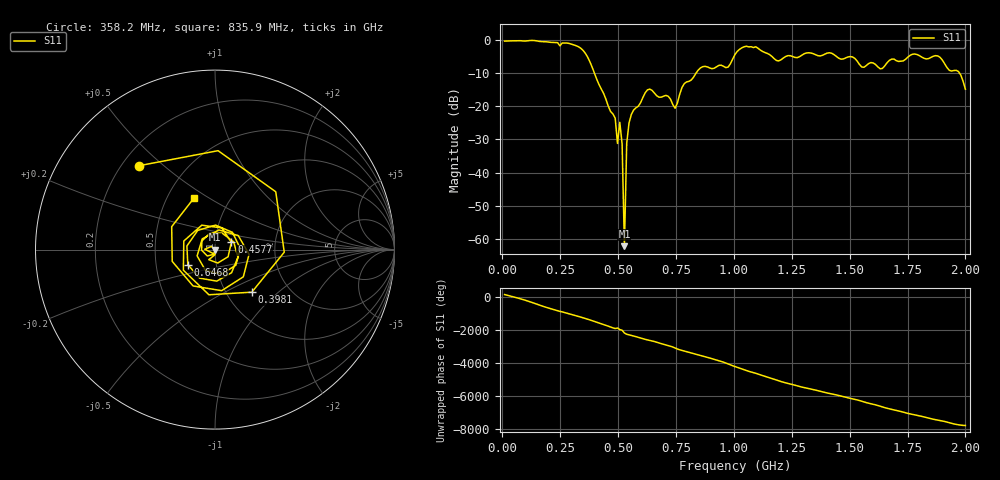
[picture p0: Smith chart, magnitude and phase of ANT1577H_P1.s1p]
!Created with skrf (http://scikit-rf.org).
# Hz S RI R 50.0
!freq ReS11 ImS11
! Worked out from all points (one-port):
!   201 points, 10 MHz to 2 GHz, reference 50 ohm
!   lowest |S11| = -62.2 dB at 527.4 MHz (marker M1), VSWR 1.00, Z = 50.1 - j0.0384 ohm
!   |S11| at or under -10 dB: 397.6 MHz to 837.3 MHz (439.7 MHz wide, 71.2 % of centre); 1.974 GHz to end of sweep
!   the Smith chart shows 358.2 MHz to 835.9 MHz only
!   S11 on the Smith chart (normalised r, x): 358.2 MHz: 0.27, +0.42; 398.1 MHz: 1.31, -0.69; 457.8 MHz: 1.20, +0.10; 646.8 MHz: 0.73, -0.12; 835.9 MHz: 0.68, +0.43
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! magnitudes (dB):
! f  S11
! 10 MHz  -0.4
! 258.8 MHz  -1.0
! 358.2 MHz  -4.0
! 398.1 MHz  -10.1
! 457.8 MHz  -20.0
! 487.6 MHz  -23.6
! 497.6 MHz  -31.2
! 507.5 MHz  -24.9
! 517.5 MHz  -31.4
! 527.4 MHz  -62.2
! 537.4 MHz  -31.2
! 547.3 MHz  -25.1
! 617 MHz  -16.0
! 646.8 MHz  -15.2
! 756.2 MHz  -19.0
! 786.1 MHz  -13.2
! 835.9 MHz  -10.1
! 975.1 MHz  -8.2
! 1.005 GHz  -4.4
! 1.055 GHz  -1.9
! 1.184 GHz  -6.2
! 1.254 GHz  -5.0
! 1.502 GHz  -5.1
! 1.632 GHz  -8.7
! 1.751 GHz  -5.2
! 1.881 GHz  -4.9
! 1.97 GHz  -9.6
! 2 GHz  -14.9
